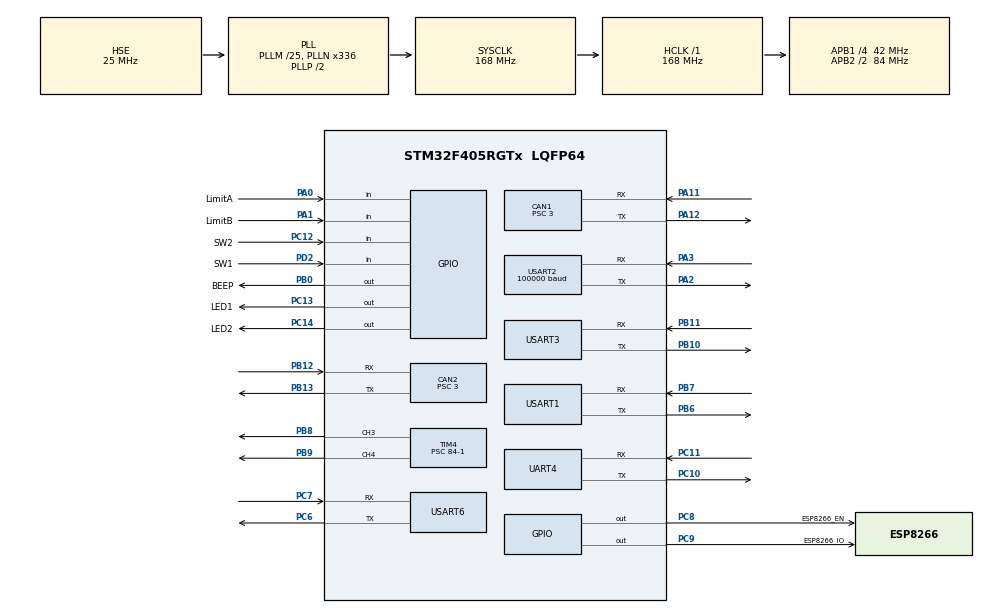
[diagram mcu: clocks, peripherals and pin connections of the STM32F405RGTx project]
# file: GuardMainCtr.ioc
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CAN1.BS1=CAN_BS1_9TQ
CAN1.BS2=CAN_BS2_4TQ
CAN1.CalculateTimeBit=1000
CAN1.CalculateTimeQuantum=71.42857142857143
CAN1.Prescaler=3
CAN2.BS1=CAN_BS1_9TQ
CAN2.BS2=CAN_BS2_4TQ
CAN2.CalculateTimeBit=1000
CAN2.CalculateTimeQuantum=71.42857142857143
CAN2.Prescaler=3
Dma.Request0=UART4_RX
Dma.Request1=UART4_TX
Dma.Request2=USART3_RX
Dma.Request3=USART3_TX
Dma.Request4=USART2_RX
Dma.Request5=USART2_TX
Dma.Request6=USART6_RX
Dma.Request7=USART6_TX
Dma.Request8=USART1_RX
Dma.Request9=USART1_TX
Dma.UART4_RX.0.Direction=DMA_PERIPH_TO_MEMORY
Dma.UART4_RX.0.FIFOMode=DMA_FIFOMODE_DISABLE
Dma.UART4_RX.0.Instance=DMA1_Stream2
Dma.UART4_RX.0.MemDataAlignment=DMA_MDATAALIGN_BYTE
Dma.UART4_RX.0.MemInc=DMA_MINC_ENABLE
Dma.UART4_RX.0.Mode=DMA_NORMAL
Dma.UART4_RX.0.PeriphDataAlignment=DMA_PDATAALIGN_BYTE
Dma.UART4_RX.0.PeriphInc=DMA_PINC_DISABLE
Dma.UART4_RX.0.Priority=DMA_PRIORITY_LOW
Dma.UART4_TX.1.Direction=DMA_MEMORY_TO_PERIPH
Dma.UART4_TX.1.FIFOMode=DMA_FIFOMODE_DISABLE
Dma.UART4_TX.1.Instance=DMA1_Stream4
Dma.UART4_TX.1.MemDataAlignment=DMA_MDATAALIGN_BYTE
Dma.UART4_TX.1.MemInc=DMA_MINC_ENABLE
Dma.UART4_TX.1.Mode=DMA_NORMAL
Dma.UART4_TX.1.PeriphDataAlignment=DMA_PDATAALIGN_BYTE
Dma.UART4_TX.1.PeriphInc=DMA_PINC_DISABLE
Dma.UART4_TX.1.Priority=DMA_PRIORITY_LOW
Dma.USART1_RX.8.Direction=DMA_PERIPH_TO_MEMORY
Dma.USART1_RX.8.FIFOMode=DMA_FIFOMODE_DISABLE
Dma.USART1_RX.8.Instance=DMA2_Stream2
Dma.USART1_RX.8.MemDataAlignment=DMA_MDATAALIGN_BYTE
Dma.USART1_RX.8.MemInc=DMA_MINC_ENABLE
Dma.USART1_RX.8.Mode=DMA_NORMAL
Dma.USART1_RX.8.PeriphDataAlignment=DMA_PDATAALIGN_BYTE
Dma.USART1_RX.8.PeriphInc=DMA_PINC_DISABLE
Dma.USART1_RX.8.Priority=DMA_PRIORITY_LOW
Dma.USART1_TX.9.Direction=DMA_MEMORY_TO_PERIPH
Dma.USART1_TX.9.FIFOMode=DMA_FIFOMODE_DISABLE
Dma.USART1_TX.9.Instance=DMA2_Stream7
Dma.USART1_TX.9.MemDataAlignment=DMA_MDATAALIGN_BYTE
Dma.USART1_TX.9.MemInc=DMA_MINC_ENABLE
Dma.USART1_TX.9.Mode=DMA_NORMAL
Dma.USART1_TX.9.PeriphDataAlignment=DMA_PDATAALIGN_BYTE
Dma.USART1_TX.9.PeriphInc=DMA_PINC_DISABLE
Dma.USART1_TX.9.Priority=DMA_PRIORITY_LOW
Dma.USART2_RX.4.Direction=DMA_PERIPH_TO_MEMORY
Dma.USART2_RX.4.FIFOMode=DMA_FIFOMODE_DISABLE
Dma.USART2_RX.4.Instance=DMA1_Stream5
Dma.USART2_RX.4.MemDataAlignment=DMA_MDATAALIGN_BYTE
Dma.USART2_RX.4.MemInc=DMA_MINC_ENABLE
Dma.USART2_RX.4.Mode=DMA_NORMAL
Dma.USART2_RX.4.PeriphDataAlignment=DMA_PDATAALIGN_BYTE
Dma.USART2_RX.4.PeriphInc=DMA_PINC_DISABLE
Dma.USART2_RX.4.Priority=DMA_PRIORITY_LOW
Dma.USART2_TX.5.Direction=DMA_MEMORY_TO_PERIPH
Dma.USART2_TX.5.FIFOMode=DMA_FIFOMODE_DISABLE
Dma.USART2_TX.5.Instance=DMA1_Stream6
Dma.USART2_TX.5.MemDataAlignment=DMA_MDATAALIGN_BYTE
Dma.USART2_TX.5.MemInc=DMA_MINC_ENABLE
Dma.USART2_TX.5.Mode=DMA_NORMAL
Dma.USART2_TX.5.PeriphDataAlignment=DMA_PDATAALIGN_BYTE
Dma.USART2_TX.5.PeriphInc=DMA_PINC_DISABLE
Dma.USART2_TX.5.Priority=DMA_PRIORITY_LOW
Dma.USART3_RX.2.Direction=DMA_PERIPH_TO_MEMORY
Dma.USART3_RX.2.FIFOMode=DMA_FIFOMODE_DISABLE
Dma.USART3_RX.2.Instance=DMA1_Stream1
Dma.USART3_RX.2.MemDataAlignment=DMA_MDATAALIGN_BYTE
Dma.USART3_RX.2.MemInc=DMA_MINC_ENABLE
Dma.USART3_RX.2.Mode=DMA_NORMAL
Dma.USART3_RX.2.PeriphDataAlignment=DMA_PDATAALIGN_BYTE
Dma.USART3_RX.2.PeriphInc=DMA_PINC_DISABLE
Dma.USART3_RX.2.Priority=DMA_PRIORITY_LOW
Dma.USART3_TX.3.Direction=DMA_MEMORY_TO_PERIPH
Dma.USART3_TX.3.FIFOMode=DMA_FIFOMODE_DISABLE
Dma.USART3_TX.3.Instance=DMA1_Stream3
Dma.USART3_TX.3.MemDataAlignment=DMA_MDATAALIGN_BYTE
Dma.USART3_TX.3.MemInc=DMA_MINC_ENABLE
Dma.USART3_TX.3.Mode=DMA_NORMAL
Dma.USART3_TX.3.PeriphDataAlignment=DMA_PDATAALIGN_BYTE
Dma.USART3_TX.3.PeriphInc=DMA_PINC_DISABLE
Dma.USART3_TX.3.Priority=DMA_PRIORITY_LOW
Dma.USART6_RX.6.Direction=DMA_PERIPH_TO_MEMORY
Dma.USART6_RX.6.FIFOMode=DMA_FIFOMODE_DISABLE
Dma.USART6_RX.6.Instance=DMA2_Stream1
Dma.USART6_RX.6.MemDataAlignment=DMA_MDATAALIGN_BYTE
Dma.USART6_RX.6.MemInc=DMA_MINC_ENABLE
Dma.USART6_RX.6.Mode=DMA_NORMAL
Dma.USART6_RX.6.PeriphDataAlignment=DMA_PDATAALIGN_BYTE
Dma.USART6_RX.6.PeriphInc=DMA_PINC_DISABLE
Dma.USART6_RX.6.Priority=DMA_PRIORITY_LOW
Dma.USART6_TX.7.Direction=DMA_MEMORY_TO_PERIPH
Dma.USART6_TX.7.FIFOMode=DMA_FIFOMODE_DISABLE
Dma.USART6_TX.7.Instance=DMA2_Stream6
Dma.USART6_TX.7.MemDataAlignment=DMA_MDATAALIGN_BYTE
Dma.USART6_TX.7.MemInc=DMA_MINC_ENABLE
Dma.USART6_TX.7.Mode=DMA_NORMAL
Dma.USART6_TX.7.PeriphDataAlignment=DMA_PDATAALIGN_BYTE
Dma.USART6_TX.7.PeriphInc=DMA_PINC_DISABLE
Dma.USART6_TX.7.Priority=DMA_PRIORITY_LOW
FREERTOS.INCLUDE_eTaskGetState=1
FREERTOS.INCLUDE_uxTaskGetStackHighWaterMark=1
FREERTOS.INCLUDE_vTaskDelayUntil=1
FREERTOS.INCLUDE_xTaskGetCurrentTaskHandle=1
FREERTOS.Tasks01=defaultTask,0,128,StartDefaultTask,Default
FREERTOS.configGENERATE_RUN_TIME_STATS=1
FREERTOS.configTOTAL_HEAP_SIZE=30360
Mcu.Family=STM32F4
Mcu.Name=STM32F405RGTx
Mcu.Package=LQFP64
NVIC.CAN1_RX0_IRQn=true\:5\:0\:false\:false\:true\:true
NVIC.CAN2_RX0_IRQn=true\:5\:0\:false\:false\:true\:true
NVIC.DMA1_Stream1_IRQn=true\:5\:0\:false\:false\:true\:true
NVIC.DMA1_Stream2_IRQn=true\:5\:0\:false\:false\:true\:true
NVIC.DMA1_Stream3_IRQn=true\:5\:0\:false\:false\:true\:true
NVIC.DMA1_Stream4_IRQn=true\:5\:0\:false\:false\:true\:true
NVIC.DMA1_Stream5_IRQn=true\:5\:0\:false\:false\:true\:true
NVIC.DMA1_Stream6_IRQn=true\:5\:0\:false\:false\:true\:true
NVIC.DMA2_Stream1_IRQn=true\:5\:0\:false\:false\:true\:true
NVIC.DMA2_Stream2_IRQn=true\:5\:0\:false\:false\:true\:true
NVIC.DMA2_Stream6_IRQn=true\:5\:0\:false\:false\:true\:true
NVIC.DMA2_Stream7_IRQn=true\:5\:0\:false\:false\:true\:true
NVIC.PriorityGroup=NVIC_PRIORITYGROUP_4
NVIC.TIM6_DAC_IRQn=true\:0\:0\:false\:false\:true\:false
NVIC.UART4_IRQn=true\:5\:0\:false\:false\:true\:true
NVIC.USART1_IRQn=true\:5\:0\:false\:false\:true\:true
NVIC.USART2_IRQn=true\:5\:0\:false\:false\:true\:true
NVIC.USART3_IRQn=true\:5\:0\:false\:false\:true\:true
NVIC.USART6_IRQn=true\:5\:0\:false\:false\:true\:true
PA0-WKUP.GPIO_Label=LimitA
PA0-WKUP.GPIO_PuPd=GPIO_PULLDOWN
PA0-WKUP.Signal=GPIO_Input
PA1.GPIO_Label=LimitB
PA1.GPIO_PuPd=GPIO_PULLDOWN
PA1.Signal=GPIO_Input
PA11.Mode=Master
PA11.Signal=CAN1_RX
PA12.Mode=Master
PA12.Signal=CAN1_TX
PA2.Mode=Asynchronous
PA2.Signal=USART2_TX
PA3.Mode=Asynchronous
PA3.Signal=USART2_RX
PB0.GPIO_Label=BEEP
PB0.Signal=GPIO_Output
PB10.Mode=Asynchronous
PB10.Signal=USART3_TX
PB11.Mode=Asynchronous
PB11.Signal=USART3_RX
PB12.Mode=Slave
PB12.Signal=CAN2_RX
PB13.Mode=Slave
PB13.Signal=CAN2_TX
PB6.Mode=Asynchronous
PB6.Signal=USART1_TX
PB7.Mode=Asynchronous
PB7.Signal=USART1_RX
PB8.Signal=S_TIM4_CH3
PB9.Signal=S_TIM4_CH4
PC10.Mode=Asynchronous
PC10.Signal=UART4_TX
PC11.Mode=Asynchronous
PC11.Signal=UART4_RX
PC12.GPIO_Label=SW2
PC12.Signal=GPIO_Input
PC13-ANTI_TAMP.GPIO_Label=LED1
PC13-ANTI_TAMP.Signal=GPIO_Output
PC14-OSC32_IN.GPIO_Label=LED2
PC14-OSC32_IN.Signal=GPIO_Output
PC6.Mode=Asynchronous
PC6.Signal=USART6_TX
PC7.Mode=Asynchronous
PC7.Signal=USART6_RX
PC8.GPIO_Label=ESP8266_EN
PC8.Signal=GPIO_Output
PC9.GPIO_Label=ESP8266_IO
PC9.Signal=GPIO_Output
PD2.GPIO_Label=SW1
PD2.Signal=GPIO_Input
PH0-OSC_IN.Mode=HSE-External-Oscillator
PH0-OSC_IN.Signal=RCC_OSC_IN
PH1-OSC_OUT.Mode=HSE-External-Oscillator
PH1-OSC_OUT.Signal=RCC_OSC_OUT
ProjectManager.HeapSize=0x200
ProjectManager.StackSize=0x400
ProjectManager.TargetToolchain=MDK-ARM V5
RCC.48MHZClocksFreq_Value=84000000
RCC.AHBFreq_Value=168000000
RCC.APB1CLKDivider=RCC_HCLK_DIV4
RCC.APB1Freq_Value=42000000
RCC.APB1TimFreq_Value=84000000
RCC.APB2CLKDivider=RCC_HCLK_DIV2
RCC.APB2Freq_Value=84000000
RCC.APB2TimFreq_Value=168000000
RCC.CortexFreq_Value=168000000
RCC.HCLKFreq_Value=168000000
RCC.HSE_VALUE=25000000
RCC.HSI_VALUE=16000000
RCC.LSE_VALUE=32768
RCC.PLLM=25
RCC.PLLN=336
RCC.PLLSourceVirtual=RCC_PLLSOURCE_HSE
RCC.SYSCLKFreq_VALUE=168000000
RCC.SYSCLKSource=RCC_SYSCLKSOURCE_PLLCLK
RCC.VCOOutputFreq_Value=336000000
SH.S_TIM4_CH3.0=TIM4_CH3,PWM Generation3 CH3
SH.S_TIM4_CH4.0=TIM4_CH4,PWM Generation4 CH4
TIM4.Channel-PWM\ Generation3\ CH3=TIM_CHANNEL_3
TIM4.Channel-PWM\ Generation4\ CH4=TIM_CHANNEL_4
TIM4.Period=3333-1
TIM4.Prescaler=84-1
TIM4.Pulse-PWM\ Generation3\ CH3=3332/2
TIM4.Pulse-PWM\ Generation4\ CH4=3332/2
TIM6.Period=100-1
TIM6.Prescaler=840-1
USART2.BaudRate=100000
VP_FREERTOS_VS_ENABLE.Mode=Enabled
VP_TIM6_VS_ClockSourceINT.Mode=Enable_Timer
board=GuardMainCtr

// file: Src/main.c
/**
  ******************************************************************************
  * File Name          : main.c
  * Description        : Main program body
  ******************************************************************************
  *
  * Copyright (c) 2018 STMicroelectronics International N.V.
  * All rights reserved.
  *
  * Redistribution and use in source and binary forms, with or without
  * modification, are permitted, provided that the following conditions are met:
  *
  * 1. Redistribution of source code must retain the above copyright notice,
  *    this list of conditions and the following disclaimer.
  * 2. Redistributions in binary form must reproduce the above copyright notice,
  *    this list of conditions and the following disclaimer in the documentation
  *    and/or other materials provided with the distribution.
  * 3. Neither the name of STMicroelectronics nor the names of other
  *    contributors to this software may be used to endorse or promote products
  *    derived from this software without specific written permission.
  * 4. This software, including modifications and/or derivative works of this
  *    software, must execute solely and exclusively on microcontroller or
  *    microprocessor devices manufactured by or for STMicroelectronics.
  * 5. Redistribution and use of this software other than as permitted under
  *    this license is void and will automatically terminate your rights under
  *    this license.
  *
  * THIS SOFTWARE IS PROVIDED BY STMICROELECTRONICS AND CONTRIBUTORS "AS IS"
  * AND ANY EXPRESS, IMPLIED OR STATUTORY WARRANTIES, INCLUDING, BUT NOT
  * LIMITED TO, THE IMPLIED WARRANTIES OF MERCHANTABILITY, FITNESS FOR A
  * PARTICULAR PURPOSE AND NON-INFRINGEMENT OF THIRD PARTY INTELLECTUAL PROPERTY
  * RIGHTS ARE DISCLAIMED TO THE FULLEST EXTENT PERMITTED BY LAW. IN NO EVENT
  * SHALL STMICROELECTRONICS OR CONTRIBUTORS BE LIABLE FOR ANY DIRECT, INDIRECT,
  * INCIDENTAL, SPECIAL, EXEMPLARY, OR CONSEQUENTIAL DAMAGES (INCLUDING, BUT NOT
  * LIMITED TO, PROCUREMENT OF SUBSTITUTE GOODS OR SERVICES; LOSS OF USE, DATA,
  * OR PROFITS; OR BUSINESS INTERRUPTION) HOWEVER CAUSED AND ON ANY THEORY OF
  * LIABILITY, WHETHER IN CONTRACT, STRICT LIABILITY, OR TORT (INCLUDING
  * NEGLIGENCE OR OTHERWISE) ARISING IN ANY WAY OUT OF THE USE OF THIS SOFTWARE,
  * EVEN IF ADVISED OF THE POSSIBILITY OF SUCH DAMAGE.
  *
  ******************************************************************************
  */
#include "main.h"
#include "stm32f4xx_hal.h"
#include "cmsis_os.h"
#include "can.h"
#include "dma.h"
#include "tim.h"
#include "usart.h"
#include "gpio.h"

/* USER CODE BEGIN Includes */

#include "bsp_Uart.h"
#include "SystemState.h"
#include "bsp_can.h"
#include "bsp_motor.h"
/* USER CODE END Includes */

/* USER CODE BEGIN PV */
/* Private variables ---------------------------------------------------------*/

/* USER CODE END PV */

void SystemClock_Config(void);
void Error_Handler(void);
void MX_FREERTOS_Init(void);

/* USER CODE BEGIN PFP */
/* Private function prototypes -----------------------------------------------*/
void vRoboteCtr_Task(void *pvParameters);//控制程序
void vRemoteSenTOYuntai_Task(void *pvParameters);//云台遥控发送
void vDisGet_Task(void *pvParameters);//距离测量
void vLED_Task(void *pvParameters);
void vLED2_Task(void *pvParameters);
void vTest_Task(void *pvParameters);
void TaskSta_task(void *pvParameters);//调试任务
/* USER CODE END PFP */

/* USER CODE BEGIN 0 */
const char vision_massage[1000]="\
Gard Control System view...\r\n\r\n\
Supported by NEFU_Houhongyi 18.4.17\r\n\r\n\
System Inite Start...........\r\n\r\n\
";
/* USER CODE END 0 */

int main(void)
{

  /* MCU Configuration----------------------------------------------------------*/

  /* Reset of all peripherals, Initializes the Flash interface and the Systick. */
  HAL_Init();

  /* Configure the system clock */
  SystemClock_Config();

  /* Initialize all configured peripherals */
  MX_GPIO_Init();
  MX_DMA_Init();
  MX_CAN1_Init();
  MX_CAN2_Init();
  MX_TIM4_Init();
  MX_TIM6_Init();
  MX_UART4_Init();
  MX_USART1_UART_Init();
  MX_USART2_UART_Init();
  MX_USART3_UART_Init();
  MX_USART6_UART_Init();

  /* USER CODE BEGIN 2 */
	printf(vision_massage);
	if(!Can_Inite())while(1);
	if(!UART_Inite())while(1);//初始化UART
	if(!SystemState_Inite())while(1);//初始化SystemState
	if(!Motor_Inite_ALL())while(1);//初始化Motor

	if(!xTaskCreate(vRoboteCtr_Task,"RobotCTR_Task",400,NULL,4,NULL))while(1);//机器人控制函数
	if(!xTaskCreate(vRemoteSenTOYuntai_Task,"RobotCTR_Task",200,NULL,3,NULL))while(1);//遥控信息CAN发送

	if(!xTaskCreate(vDisGet_Task,"DistGet_Task",200,NULL,3,NULL))while(1);//距离测量

	xTaskCreate(vLED_Task,"LED_Task",200,NULL,1,NULL);//LED闪烁
	xTaskCreate(vLED2_Task,"LED_Task",200,NULL,1,NULL);//LED2闪烁
	xTaskCreate(vTest_Task,"Test_Task",200,NULL,1,NULL);//vDisGet_Task
	//xTaskCreate(TaskSta_task,"State_Task",200,NULL,1,NULL);
	printf(">>Ready...\r\n");
  /* USER CODE END 2 */

  /* Call init function for freertos objects (in freertos.c) */
  MX_FREERTOS_Init();

  /* Start scheduler */
  osKernelStart();

  /* We should never get here as control is now taken by the scheduler */

  /* Infinite loop */
  while (1)
  {

  }

}

/** System Clock Configuration
*/
void SystemClock_Config(void)
{

  RCC_OscInitTypeDef RCC_OscInitStruct;
  RCC_ClkInitTypeDef RCC_ClkInitStruct;

    /**Configure the main internal regulator output voltage
    */
  __HAL_RCC_PWR_CLK_ENABLE();

  __HAL_PWR_VOLTAGESCALING_CONFIG(PWR_REGULATOR_VOLTAGE_SCALE1);

    /**Initializes the CPU, AHB and APB busses clocks
    */
  RCC_OscInitStruct.OscillatorType = RCC_OSCILLATORTYPE_HSE;
  RCC_OscInitStruct.HSEState = RCC_HSE_ON;
  RCC_OscInitStruct.PLL.PLLState = RCC_PLL_ON;
  RCC_OscInitStruct.PLL.PLLSource = RCC_PLLSOURCE_HSE;
  RCC_OscInitStruct.PLL.PLLM = 25;
  RCC_OscInitStruct.PLL.PLLN = 336;
  RCC_OscInitStruct.PLL.PLLP = RCC_PLLP_DIV2;
  RCC_OscInitStruct.PLL.PLLQ = 4;
  if (HAL_RCC_OscConfig(&RCC_OscInitStruct) != HAL_OK)
  {
    Error_Handler();
  }

    /**Initializes the CPU, AHB and APB busses clocks
    */
  RCC_ClkInitStruct.ClockType = RCC_CLOCKTYPE_HCLK|RCC_CLOCKTYPE_SYSCLK
                              |RCC_CLOCKTYPE_PCLK1|RCC_CLOCKTYPE_PCLK2;
  RCC_ClkInitStruct.SYSCLKSource = RCC_SYSCLKSOURCE_PLLCLK;
  RCC_ClkInitStruct.AHBCLKDivider = RCC_SYSCLK_DIV1;
  RCC_ClkInitStruct.APB1CLKDivider = RCC_HCLK_DIV4;
  RCC_ClkInitStruct.APB2CLKDivider = RCC_HCLK_DIV2;

  if (HAL_RCC_ClockConfig(&RCC_ClkInitStruct, FLASH_LATENCY_5) != HAL_OK)
  {
    Error_Handler();
  }

    /**Configure the Systick interrupt time
    */
  HAL_SYSTICK_Config(HAL_RCC_GetHCLKFreq()/1000);

    /**Configure the Systick
    */
  HAL_SYSTICK_CLKSourceConfig(SYSTICK_CLKSOURCE_HCLK);

  /* SysTick_IRQn interrupt configuration */
  HAL_NVIC_SetPriority(SysTick_IRQn, 15, 0);
}

void Error_Handler(void)
{
  while(1)
  {
  }
}

/************************ (C) COPYRIGHT STMicroelectronics *****END OF FILE****/
